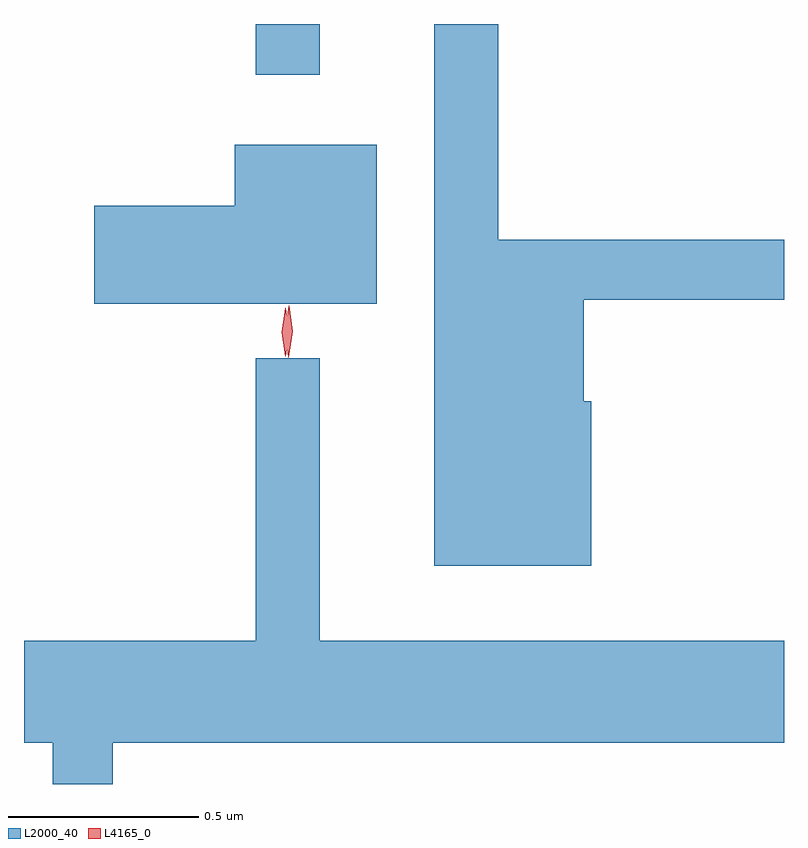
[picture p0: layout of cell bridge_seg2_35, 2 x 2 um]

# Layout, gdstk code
import gdstk
lib = gdstk.Library(unit=1e-6, precision=1e-09)
def R(c, l, rs):  # rectangles x0, y0, x1, y1
    for r in rs: c.add(gdstk.rectangle(r[:2], r[2:], *l))
def P(c, l, *ps):  # polygons
    for p in ps: c.add(gdstk.Polygon(p, *l))
L2000_40 = (2000, 40)
L4165_0 = (4165, 0)

bridge_seg2_35 = lib.new_cell('bridge_seg2_35')
R(bridge_seg2_35, L2000_40, [(1491.111,1050.073,1491.279,1050.207)])
P(bridge_seg2_35, L2000_40, [(1491.994,1049.214),(1491.974,1049.214),(1491.974,1049.481),(1492.501,1049.481),(1492.501,1049.639),(1491.749,1049.639),(1491.749,1050.207),(1491.581,1050.207),(1491.581,1048.781),(1491.994,1048.781)],
  [(1491.429,1049.889),(1491.056,1049.889),(1491.056,1049.729),(1490.686,1049.729),(1490.686,1049.471),(1491.429,1049.471)],
  [(1490.734,1048.316),(1492.501,1048.316),(1492.501,1048.584),(1491.279,1048.584),(1491.279,1049.328),(1491.111,1049.328),(1491.111,1048.584),(1490.501,1048.584),(1490.501,1048.316),(1490.576,1048.316),(1490.576,1048.207),(1490.734,1048.207)])
P(bridge_seg2_35, L4165_0, [(1491.189,1049.333),(1491.179,1049.396),(1491.189,1049.459),(1491.189,1049.46),(1491.19,1049.459),(1491.199,1049.396),(1491.19,1049.333),(1491.19,1049.333)],
  [(1491.197,1049.33),(1491.197,1049.33),(1491.188,1049.398),(1491.198,1049.466),(1491.199,1049.466),(1491.199,1049.466),(1491.208,1049.398),(1491.198,1049.33)])

lib.write_gds('bridge_seg2_35.gds')
